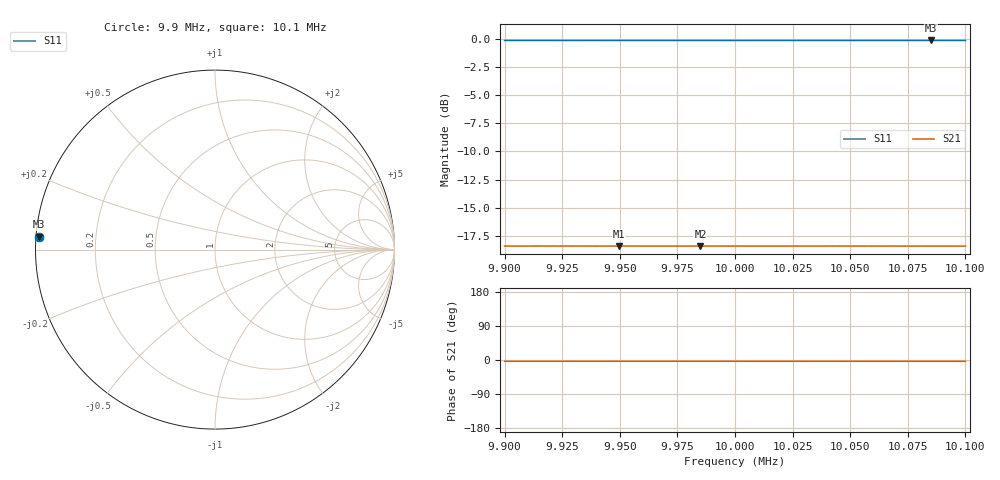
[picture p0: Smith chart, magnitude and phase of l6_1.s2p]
! NanoVNA-App
! Date: 2026-10-13 21:44:48
! Start: 9,9MHz Stop: 10,1MHz Points: 401
! S-Parameter data: F S11 S21 S12 S22
# Hz S RI R 50
!  Frequency  S11_Real  S11_Imag  S21_Real  S21_Imag  S12_Real  S12_Imag  S22_Real  S22_Imag
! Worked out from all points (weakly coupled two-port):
!   401 points, 9.9 MHz to 10.1 MHz, reference 50 ohm
!   highest |S21| = -18.40 dB at 9.9495 MHz (marker M1); lowest = -18.4 dB at 9.985 MHz (marker M2)
!   lowest |S11| = -0.1 dB at 10.085 MHz (marker M3), VSWR 117.99, Z = 0.424 + j1.83 ohm
!   |S11| at or under -10 dB: nowhere
!   S12 and S22 are empty: the file has one direction only
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9900000  -0.9809 0.0704  0.1199 -0.00723  0 0  0 0
9914500  -0.9809 0.0705  0.12 -0.00716  0 0  0 0
9933500  -0.9809 0.0708  0.1199 -0.00719  0 0  0 0
9941000  -0.981 0.0707  0.1199 -0.00722  0 0  0 0
9949500  -0.9809 0.0709  0.1201 -0.00724  0 0  0 0
9967000  -0.9808 0.0709  0.1199 -0.00723  0 0  0 0
9975000  -0.9809 0.071  0.12 -0.00723  0 0  0 0
9977500  -0.9808 0.071  0.1199 -0.00716  0 0  0 0
9985000  -0.9809 0.071  0.1198 -0.00729  0 0  0 0
1e7  -0.9809 0.0712  0.1199 -0.0073  0 0  0 0
1.0009e7  -0.9807 0.0713  0.1199 -0.00735  0 0  0 0
1.00135e7  -0.9808 0.0712  0.1198 -0.00726  0 0  0 0
1.00195e7  -0.9807 0.0713  0.1199 -0.00723  0 0  0 0
1.0022e7  -0.9807 0.0713  0.1199 -0.00734  0 0  0 0
1.00245e7  -0.9808 0.0713  0.1199 -0.00725  0 0  0 0
1.0032e7  -0.9807 0.0713  0.1198 -0.0073  0 0  0 0
1.00335e7  -0.9808 0.0714  0.1199 -0.00727  0 0  0 0
1.00565e7  -0.9808 0.0715  0.1199 -0.00729  0 0  0 0
1.00595e7  -0.9808 0.0714  0.1199 -0.0074  0 0  0 0
1.0067e7  -0.9808 0.0716  0.1199 -0.00731  0 0  0 0
1.0085e7  -0.9806 0.0717  0.1199 -0.00731  0 0  0 0
1.01e7  -0.9807 0.0718  0.1198 -0.00737  0 0  0 0
